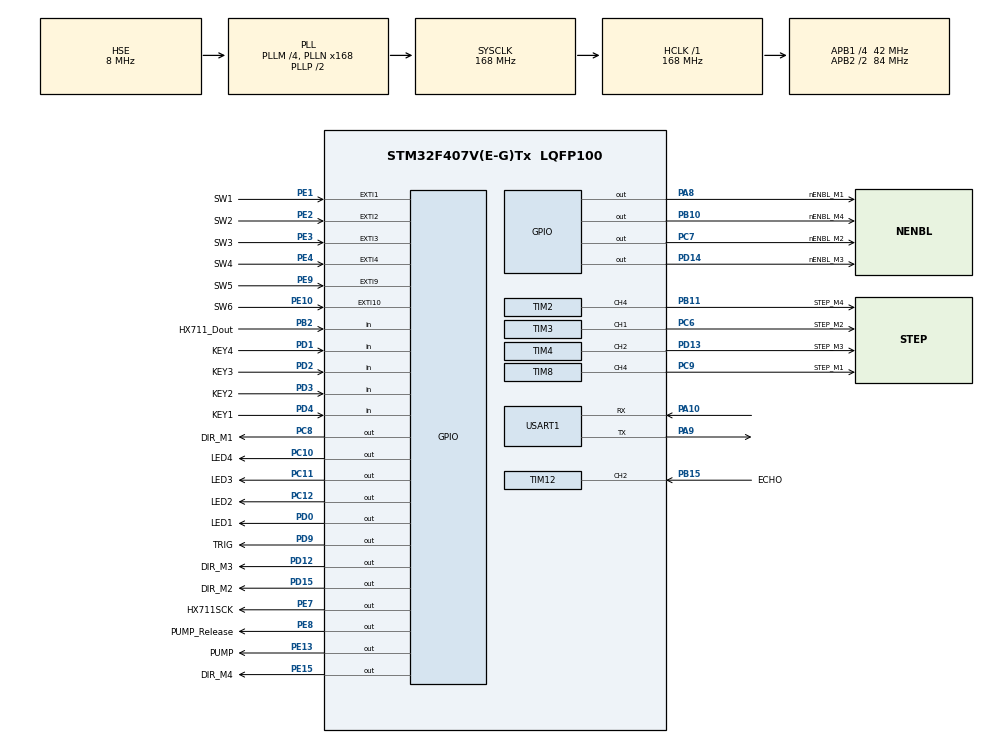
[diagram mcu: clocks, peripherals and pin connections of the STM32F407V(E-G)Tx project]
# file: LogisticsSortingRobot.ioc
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Dma.Request0=USART1_RX
Dma.Request1=USART1_TX
Dma.USART1_RX.0.Direction=DMA_PERIPH_TO_MEMORY
Dma.USART1_RX.0.FIFOMode=DMA_FIFOMODE_DISABLE
Dma.USART1_RX.0.Instance=DMA2_Stream2
Dma.USART1_RX.0.MemDataAlignment=DMA_MDATAALIGN_BYTE
Dma.USART1_RX.0.MemInc=DMA_MINC_ENABLE
Dma.USART1_RX.0.Mode=DMA_NORMAL
Dma.USART1_RX.0.PeriphDataAlignment=DMA_PDATAALIGN_BYTE
Dma.USART1_RX.0.PeriphInc=DMA_PINC_DISABLE
Dma.USART1_RX.0.Priority=DMA_PRIORITY_MEDIUM
Dma.USART1_TX.1.Direction=DMA_MEMORY_TO_PERIPH
Dma.USART1_TX.1.FIFOMode=DMA_FIFOMODE_DISABLE
Dma.USART1_TX.1.Instance=DMA2_Stream7
Dma.USART1_TX.1.MemDataAlignment=DMA_MDATAALIGN_BYTE
Dma.USART1_TX.1.MemInc=DMA_MINC_ENABLE
Dma.USART1_TX.1.Mode=DMA_NORMAL
Dma.USART1_TX.1.PeriphDataAlignment=DMA_PDATAALIGN_BYTE
Dma.USART1_TX.1.PeriphInc=DMA_PINC_DISABLE
Dma.USART1_TX.1.Priority=DMA_PRIORITY_MEDIUM
FREERTOS.BinarySemaphores01=SYNC_Signal,Dynamic,NULL;CameraOpen_Sigal,Dynamic,NULL
FREERTOS.Tasks01=defaultTask,-3,128,StartDefaultTask,Default,NULL,Dynamic,NULL,NULL;JointTask,1,128,JointTaskFunc,As weak,NULL,Dynamic,NULL,NULL;RangingTask,0,128,RangingTaskFunc,As weak,NULL,Dynamic,NULL,NULL;SerialTask,0,128,SerialTaskFunc,As weak,NULL,Dynamic,NULL,NULL;WeighingTask,0,128,WeighingTaskFunc,As weak,NULL,Dynamic,NULL,NULL;AppTask,2,256,AppTaskFunc,As weak,NULL,Dynamic,NULL,NULL
FREERTOS.configMAX_TASK_NAME_LEN=32
FREERTOS.configTIMER_QUEUE_LENGTH=8
FREERTOS.configTIMER_TASK_STACK_DEPTH=128
FREERTOS.configUSE_COUNTING_SEMAPHORES=1
FREERTOS.configUSE_TIMERS=1
Mcu.Family=STM32F4
Mcu.Name=STM32F407V(E-G)Tx
Mcu.Package=LQFP100
NVIC.DMA2_Stream2_IRQn=true\:5\:0\:false\:false\:true\:true\:false\:true\:true
NVIC.DMA2_Stream7_IRQn=true\:5\:0\:false\:false\:true\:true\:false\:true\:true
NVIC.EXTI15_10_IRQn=true\:5\:0\:false\:false\:false\:true\:true\:true\:true
NVIC.EXTI1_IRQn=true\:5\:0\:false\:false\:false\:true\:true\:true\:true
NVIC.EXTI2_IRQn=true\:5\:0\:false\:false\:false\:true\:true\:true\:true
NVIC.EXTI3_IRQn=true\:5\:0\:false\:false\:false\:true\:true\:true\:true
NVIC.EXTI4_IRQn=true\:5\:0\:false\:false\:false\:true\:true\:true\:true
NVIC.EXTI9_5_IRQn=true\:5\:0\:false\:false\:false\:true\:true\:true\:true
NVIC.PriorityGroup=NVIC_PRIORITYGROUP_4
NVIC.TIM1_UP_TIM10_IRQn=true\:15\:0\:false\:false\:true\:false\:false\:true\:true
NVIC.TIM2_IRQn=true\:5\:0\:false\:false\:true\:true\:true\:true\:true
NVIC.TIM3_IRQn=true\:5\:0\:false\:false\:true\:true\:true\:true\:true
NVIC.TIM4_IRQn=true\:5\:0\:false\:false\:true\:true\:true\:true\:true
NVIC.TIM8_BRK_TIM12_IRQn=true\:5\:0\:false\:false\:true\:true\:true\:true\:true
NVIC.TIM8_UP_TIM13_IRQn=true\:5\:0\:false\:false\:true\:true\:true\:true\:true
NVIC.TimeBase=TIM1_UP_TIM10_IRQn
NVIC.TimeBaseIP=TIM1
NVIC.USART1_IRQn=true\:5\:0\:false\:false\:true\:true\:true\:true\:true
PA10.GPIO_PuPd=GPIO_PULLDOWN
PA10.Mode=Asynchronous
PA10.Signal=USART1_RX
PA13.Mode=Trace_Asynchronous_SW
PA13.Signal=SYS_JTMS-SWDIO
PA14.Mode=Trace_Asynchronous_SW
PA14.Signal=SYS_JTCK-SWCLK
PA8.GPIO_Label=nENBL_M1
PA8.Signal=GPIO_Output
PA9.GPIO_PuPd=GPIO_PULLDOWN
PA9.Mode=Asynchronous
PA9.Signal=USART1_TX
PB10.GPIO_Label=nENBL_M4
PB10.Signal=GPIO_Output
PB11.GPIO_Label=STEP_M4
PB11.GPIO_PuPd=GPIO_PULLDOWN
PB11.GPIO_Speed=GPIO_SPEED_FREQ_HIGH
PB11.Signal=S_TIM2_CH4
PB15.GPIO_Label=ECHO
PB15.GPIO_Speed=GPIO_SPEED_FREQ_LOW
PB15.Signal=S_TIM12_CH2
PB2.GPIO_Label=HX711_Dout
PB2.GPIO_PuPd=GPIO_NOPULL
PB2.Signal=GPIO_Input
PB3.Mode=Trace_Asynchronous_SW
PB3.Signal=SYS_JTDO-SWO
PC10.GPIO_Label=LED4
PC10.PinState=GPIO_PIN_SET
PC10.Signal=GPIO_Output
PC11.GPIO_Label=LED3
PC11.PinState=GPIO_PIN_SET
PC11.Signal=GPIO_Output
PC12.GPIO_Label=LED2
PC12.PinState=GPIO_PIN_SET
PC12.Signal=GPIO_Output
PC6.GPIO_Label=STEP_M2
PC6.GPIO_PuPd=GPIO_PULLDOWN
PC6.GPIO_Speed=GPIO_SPEED_FREQ_HIGH
PC6.Signal=S_TIM3_CH1
PC7.GPIO_Label=nENBL_M2
PC7.Signal=GPIO_Output
PC8.GPIO_Label=DIR_M1
PC8.GPIO_Speed=GPIO_SPEED_FREQ_VERY_HIGH
PC8.PinState=GPIO_PIN_SET
PC8.Signal=GPIO_Output
PC9.GPIO_Label=STEP_M1
PC9.GPIO_PuPd=GPIO_PULLDOWN
PC9.GPIO_Speed=GPIO_SPEED_FREQ_HIGH
PC9.Signal=S_TIM8_CH4
PD0.GPIO_Label=LED1
PD0.PinState=GPIO_PIN_SET
PD0.Signal=GPIO_Output
PD1.GPIO_Label=KEY4
PD1.GPIO_PuPd=GPIO_PULLUP
PD1.Signal=GPIO_Input
PD12.GPIO_Label=DIR_M3
PD12.GPIO_Speed=GPIO_SPEED_FREQ_VERY_HIGH
PD12.PinState=GPIO_PIN_SET
PD12.Signal=GPIO_Output
PD13.GPIO_Label=STEP_M3
PD13.GPIO_PuPd=GPIO_PULLDOWN
PD13.GPIO_Speed=GPIO_SPEED_FREQ_HIGH
PD13.Signal=S_TIM4_CH2
PD14.GPIO_Label=nENBL_M3
PD14.Signal=GPIO_Output
PD15.GPIO_Label=DIR_M2
PD15.GPIO_Speed=GPIO_SPEED_FREQ_VERY_HIGH
PD15.PinState=GPIO_PIN_SET
PD15.Signal=GPIO_Output
PD2.GPIO_Label=KEY3
PD2.GPIO_PuPd=GPIO_PULLUP
PD2.Signal=GPIO_Input
PD3.GPIO_Label=KEY2
PD3.GPIO_PuPd=GPIO_PULLUP
PD3.Signal=GPIO_Input
PD4.GPIO_Label=KEY1
PD4.GPIO_PuPd=GPIO_PULLUP
PD4.Signal=GPIO_Input
PD9.GPIO_Label=TRIG
PD9.Signal=GPIO_Output
PE1.GPIO_Label=SW1
PE1.GPIO_ModeDefaultEXTI=GPIO_MODE_IT_RISING_FALLING
PE1.GPIO_PuPd=GPIO_NOPULL
PE1.Signal=GPXTI1
PE10.GPIO_Label=SW6
PE10.GPIO_ModeDefaultEXTI=GPIO_MODE_IT_RISING_FALLING
PE10.Signal=GPXTI10
PE13.GPIO_Label=PUMP
PE13.Signal=GPIO_Output
PE15.GPIO_Label=DIR_M4
PE15.GPIO_Speed=GPIO_SPEED_FREQ_VERY_HIGH
PE15.PinState=GPIO_PIN_SET
PE15.Signal=GPIO_Output
PE2.GPIO_Label=SW2
PE2.GPIO_ModeDefaultEXTI=GPIO_MODE_IT_RISING_FALLING
PE2.GPIO_PuPd=GPIO_NOPULL
PE2.Signal=GPXTI2
PE3.GPIO_Label=SW3
PE3.GPIO_ModeDefaultEXTI=GPIO_MODE_IT_RISING_FALLING
PE3.GPIO_PuPd=GPIO_NOPULL
PE3.Signal=GPXTI3
PE4.GPIO_Label=SW4
PE4.GPIO_ModeDefaultEXTI=GPIO_MODE_IT_RISING_FALLING
PE4.GPIO_PuPd=GPIO_NOPULL
PE4.Signal=GPXTI4
PE7.GPIO_Label=HX711SCK
PE7.GPIO_Speed=GPIO_SPEED_FREQ_VERY_HIGH
PE7.PinState=GPIO_PIN_RESET
PE7.Signal=GPIO_Output
PE8.GPIO_Label=PUMP_Release
PE8.Signal=GPIO_Output
PE9.GPIO_Label=SW5
PE9.GPIO_ModeDefaultEXTI=GPIO_MODE_IT_RISING_FALLING
PE9.Signal=GPXTI9
PH0-OSC_IN.Mode=HSE-External-Oscillator
PH0-OSC_IN.Signal=RCC_OSC_IN
PH1-OSC_OUT.Mode=HSE-External-Oscillator
PH1-OSC_OUT.Signal=RCC_OSC_OUT
ProjectManager.HeapSize=0x200
ProjectManager.StackSize=0x400
ProjectManager.TargetToolchain=MDK-ARM V5.32
RCC.48MHZClocksFreq_Value=84000000
RCC.AHBFreq_Value=168000000
RCC.APB1CLKDivider=RCC_HCLK_DIV4
RCC.APB1Freq_Value=42000000
RCC.APB1TimFreq_Value=84000000
RCC.APB2CLKDivider=RCC_HCLK_DIV2
RCC.APB2Freq_Value=84000000
RCC.APB2TimFreq_Value=168000000
RCC.CortexFreq_Value=168000000
RCC.HCLKFreq_Value=168000000
RCC.HSE_VALUE=8000000
RCC.HSI_VALUE=16000000
RCC.LSE_VALUE=32768
RCC.PLLM=4
RCC.PLLN=168
RCC.PLLSourceVirtual=RCC_PLLSOURCE_HSE
RCC.SYSCLKFreq_VALUE=168000000
RCC.SYSCLKSource=RCC_SYSCLKSOURCE_PLLCLK
RCC.VCOOutputFreq_Value=336000000
SH.S_TIM12_CH2.0=TIM12_CH2,Input_Capture2_from_TI2
SH.S_TIM2_CH4.0=TIM2_CH4,PWM Generation4 CH4
SH.S_TIM3_CH1.0=TIM3_CH1,PWM Generation1 CH1
SH.S_TIM4_CH2.0=TIM4_CH2,PWM Generation2 CH2
SH.S_TIM8_CH4.0=TIM8_CH4,PWM Generation4 CH4
TIM12.AutoReloadPreload=TIM_AUTORELOAD_PRELOAD_ENABLE
TIM12.Channel-Input_Capture2_from_TI2=TIM_CHANNEL_2
TIM12.Prescaler=84-1
TIM2.Channel-PWM\ Generation4\ CH4=TIM_CHANNEL_4
TIM2.OCMode_PWM-PWM\ Generation4\ CH4=TIM_OCMODE_PWM2
TIM2.Period=1000-1
TIM2.Prescaler=84-1
TIM2.Pulse-PWM\ Generation4\ CH4=500
TIM3.AutoReloadPreload=TIM_AUTORELOAD_PRELOAD_ENABLE
TIM3.Channel-PWM\ Generation1\ CH1=TIM_CHANNEL_1
TIM3.OCMode_PWM-PWM\ Generation1\ CH1=TIM_OCMODE_PWM1
TIM3.Period=1000-1
TIM3.Prescaler=84-1
TIM3.Pulse-PWM\ Generation1\ CH1=500
TIM4.Channel-PWM\ Generation2\ CH2=TIM_CHANNEL_2
TIM4.OCMode_PWM-PWM\ Generation2\ CH2=TIM_OCMODE_PWM2
TIM4.Period=1000-1
TIM4.Prescaler=84-1
TIM4.Pulse-PWM\ Generation2\ CH2=500
TIM6.Prescaler=84-1
TIM8.AutoReloadPreload=TIM_AUTORELOAD_PRELOAD_DISABLE
TIM8.Channel-PWM\ Generation4\ CH4=TIM_CHANNEL_4
TIM8.OCMode_PWM-PWM\ Generation4\ CH4=TIM_OCMODE_PWM2
TIM8.Period=1000-1
TIM8.Prescaler=168-1
TIM8.Pulse-PWM\ Generation4\ CH4=500
USART1.VirtualMode=VM_ASYNC
VP_FREERTOS_VS_CMSIS_V1.Mode=CMSIS_V1
VP_SYS_VS_tim1.Mode=TIM1
VP_TIM12_VS_ClockSourceINT.Mode=Internal
VP_TIM3_VS_ClockSourceINT.Mode=Internal
VP_TIM6_VS_ClockSourceINT.Mode=Enable_Timer
board=custom

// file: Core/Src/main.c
/* USER CODE BEGIN Header */
/**
  ******************************************************************************
  * @file           : main.c
  * @brief          : Main program body
  ******************************************************************************
  * @attention
  *
  * Copyright (c) 2022 STMicroelectronics.
  * All rights reserved.
  *
  * This software is licensed under terms that can be found in the LICENSE file
  * in the root directory of this software component.
  * If no LICENSE file comes with this software, it is provided AS-IS.
  *
  ******************************************************************************
  */
/* USER CODE END Header */
#include "main.h"
#include "cmsis_os.h"
#include "dma.h"
#include "tim.h"
#include "usart.h"
#include "gpio.h"

void SystemClock_Config(void);
void MX_FREERTOS_Init(void);

int main(void)
{

  /* MCU Configuration--------------------------------------------------------*/

  /* Reset of all peripherals, Initializes the Flash interface and the Systick. */
  HAL_Init();

  /* Configure the system clock */
  SystemClock_Config();

  /* Initialize all configured peripherals */
  MX_GPIO_Init();
  MX_DMA_Init();
  MX_TIM12_Init();
  MX_USART1_UART_Init();
  MX_TIM3_Init();
  MX_TIM4_Init();
  MX_TIM8_Init();
  MX_TIM6_Init();
  MX_TIM2_Init();

  /* Call init function for freertos objects (in freertos.c) */
  MX_FREERTOS_Init();

  /* Start scheduler */
  osKernelStart();

  /* We should never get here as control is now taken by the scheduler */
  /* Infinite loop */
  while (1)
  {

  }
}

void SystemClock_Config(void)
{
  RCC_OscInitTypeDef RCC_OscInitStruct = {0};
  RCC_ClkInitTypeDef RCC_ClkInitStruct = {0};

  /** Configure the main internal regulator output voltage
  */
  __HAL_RCC_PWR_CLK_ENABLE();
  __HAL_PWR_VOLTAGESCALING_CONFIG(PWR_REGULATOR_VOLTAGE_SCALE1);

  /** Initializes the RCC Oscillators according to the specified parameters
  * in the RCC_OscInitTypeDef structure.
  */
  RCC_OscInitStruct.OscillatorType = RCC_OSCILLATORTYPE_HSE;
  RCC_OscInitStruct.HSEState = RCC_HSE_ON;
  RCC_OscInitStruct.PLL.PLLState = RCC_PLL_ON;
  RCC_OscInitStruct.PLL.PLLSource = RCC_PLLSOURCE_HSE;
  RCC_OscInitStruct.PLL.PLLM = 4;
  RCC_OscInitStruct.PLL.PLLN = 168;
  RCC_OscInitStruct.PLL.PLLP = RCC_PLLP_DIV2;
  RCC_OscInitStruct.PLL.PLLQ = 4;
  if (HAL_RCC_OscConfig(&RCC_OscInitStruct) != HAL_OK)
  {
    Error_Handler();
  }

  /** Initializes the CPU, AHB and APB buses clocks
  */
  RCC_ClkInitStruct.ClockType = RCC_CLOCKTYPE_HCLK|RCC_CLOCKTYPE_SYSCLK
                              |RCC_CLOCKTYPE_PCLK1|RCC_CLOCKTYPE_PCLK2;
  RCC_ClkInitStruct.SYSCLKSource = RCC_SYSCLKSOURCE_PLLCLK;
  RCC_ClkInitStruct.AHBCLKDivider = RCC_SYSCLK_DIV1;
  RCC_ClkInitStruct.APB1CLKDivider = RCC_HCLK_DIV4;
  RCC_ClkInitStruct.APB2CLKDivider = RCC_HCLK_DIV2;

  if (HAL_RCC_ClockConfig(&RCC_ClkInitStruct, FLASH_LATENCY_5) != HAL_OK)
  {
    Error_Handler();
  }
}

void HAL_TIM_PeriodElapsedCallback(TIM_HandleTypeDef *htim)
{
  if (htim->Instance == TIM1) {
    HAL_IncTick();
  }
}

void Error_Handler(void)
{
  __disable_irq();
  while (1)
  {
  }
}

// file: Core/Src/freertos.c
/* USER CODE BEGIN Header */
/**
  ******************************************************************************
  * File Name          : freertos.c
  * Description        : Code for freertos applications
  ******************************************************************************
  * @attention
  *
  * Copyright (c) 2022 STMicroelectronics.
  * All rights reserved.
  *
  * This software is licensed under terms that can be found in the LICENSE file
  * in the root directory of this software component.
  * If no LICENSE file comes with this software, it is provided AS-IS.
  *
  ******************************************************************************
  */
/* USER CODE END Header */

#include "FreeRTOS.h"
#include "task.h"
#include "main.h"
#include "cmsis_os.h"

/* USER CODE BEGIN Includes */
#include "Serial.h"
/* USER CODE END Includes */

/* USER CODE BEGIN PD */
#define SERIAL_RX_QUEUE_LEN		8
#define SERIAL_RX_QUEUE_SIZE		(3 + SERIAL_DATABYTE)
#define JOINT_QUEUE_LEN			8
#define JOINT_QUEUE_SIZE			5 // 1 + 2 + 2
#define COOR_QUEUE_LEN			8
#define COOR_QUEUE_SIZE			(SERIAL_DATABYTE - 2)
#define PRESSURE_QUEUE_LEN		2
#define PRESSURE_QUEUE_SIZE		4
#define RANGE_QUEUE_LEN			2
#define RANGE_QUEUE_SIZE			4
/* USER CODE END PD */

/* USER CODE BEGIN Variables */
QueueHandle_t Serial_Queue;
QueueHandle_t JointDrive_Queue;
QueueHandle_t Coordinate_Queue;
QueueHandle_t PressureSensor_Queue;
QueueHandle_t RangingSensor_Queue;
/* USER CODE END Variables */
osThreadId defaultTaskHandle;
osThreadId JointTaskHandle;
osThreadId RangingTaskHandle;
osThreadId SerialTaskHandle;
osThreadId WeighingTaskHandle;
osThreadId AppTaskHandle;
osSemaphoreId SYNC_SignalHandle;
osSemaphoreId CameraOpen_SigalHandle;

void StartDefaultTask(void const * argument);
void JointTaskFunc(void const * argument);
void RangingTaskFunc(void const * argument);
void SerialTaskFunc(void const * argument);
void WeighingTaskFunc(void const * argument);
void AppTaskFunc(void const * argument);

void MX_FREERTOS_Init(void); /* (MISRA C 2004 rule 8.1) */

/* GetIdleTaskMemory prototype (linked to static allocation support) */
void vApplicationGetIdleTaskMemory( StaticTask_t **ppxIdleTaskTCBBuffer, StackType_t **ppxIdleTaskStackBuffer, uint32_t *pulIdleTaskStackSize );

/* GetTimerTaskMemory prototype (linked to static allocation support) */
void vApplicationGetTimerTaskMemory( StaticTask_t **ppxTimerTaskTCBBuffer, StackType_t **ppxTimerTaskStackBuffer, uint32_t *pulTimerTaskStackSize );

/* USER CODE BEGIN GET_IDLE_TASK_MEMORY */
static StaticTask_t xIdleTaskTCBBuffer;
static StackType_t xIdleStack[configMINIMAL_STACK_SIZE];

void vApplicationGetIdleTaskMemory( StaticTask_t **ppxIdleTaskTCBBuffer, StackType_t **ppxIdleTaskStackBuffer, uint32_t *pulIdleTaskStackSize )
{
  *ppxIdleTaskTCBBuffer = &xIdleTaskTCBBuffer;
  *ppxIdleTaskStackBuffer = &xIdleStack[0];
  *pulIdleTaskStackSize = configMINIMAL_STACK_SIZE;
  /* place for user code */
}
/* USER CODE END GET_IDLE_TASK_MEMORY */

/* USER CODE BEGIN GET_TIMER_TASK_MEMORY */
static StaticTask_t xTimerTaskTCBBuffer;
static StackType_t xTimerStack[configTIMER_TASK_STACK_DEPTH];

void vApplicationGetTimerTaskMemory( StaticTask_t **ppxTimerTaskTCBBuffer, StackType_t **ppxTimerTaskStackBuffer, uint32_t *pulTimerTaskStackSize )
{
  *ppxTimerTaskTCBBuffer = &xTimerTaskTCBBuffer;
  *ppxTimerTaskStackBuffer = &xTimerStack[0];
  *pulTimerTaskStackSize = configTIMER_TASK_STACK_DEPTH;
  /* place for user code */
}
/* USER CODE END GET_TIMER_TASK_MEMORY */

void MX_FREERTOS_Init(void) {

  /* Create the semaphores(s) */
  /* definition and creation of SYNC_Signal */
  osSemaphoreDef(SYNC_Signal);
  SYNC_SignalHandle = osSemaphoreCreate(osSemaphore(SYNC_Signal), 1);

  /* definition and creation of CameraOpen_Sigal */
  osSemaphoreDef(CameraOpen_Sigal);
  CameraOpen_SigalHandle = osSemaphoreCreate(osSemaphore(CameraOpen_Sigal), 1);

  /* USER CODE BEGIN RTOS_QUEUES */
  /* add queues, ... */
	Serial_Queue = xQueueCreate((UBaseType_t)SERIAL_RX_QUEUE_LEN,(UBaseType_t)SERIAL_RX_QUEUE_SIZE);
	if(NULL == Serial_Queue)
	{
	  // Queue Create Error
	}
	JointDrive_Queue = xQueueCreate((UBaseType_t)JOINT_QUEUE_LEN,(UBaseType_t)JOINT_QUEUE_SIZE);
	if(NULL == JointDrive_Queue)
	{
	  // Queue Create Error
	}
	Coordinate_Queue = xQueueCreate((UBaseType_t)COOR_QUEUE_LEN,(UBaseType_t)COOR_QUEUE_SIZE);
	if(NULL == Coordinate_Queue)
	{
	  // Queue Create Error
	}
	PressureSensor_Queue = xQueueCreate((UBaseType_t)PRESSURE_QUEUE_LEN,(UBaseType_t)PRESSURE_QUEUE_SIZE);
	if(NULL == PressureSensor_Queue)
	{
	  // Queue Create Error
	}
	RangingSensor_Queue = xQueueCreate((UBaseType_t)RANGE_QUEUE_LEN,(UBaseType_t)RANGE_QUEUE_SIZE);
	if(NULL == RangingSensor_Queue)
	{
	  // Queue Create Error
	}
  /* USER CODE END RTOS_QUEUES */

  /* Create the thread(s) */
  /* definition and creation of defaultTask */
  osThreadDef(defaultTask, StartDefaultTask, osPriorityIdle, 0, 128);
  defaultTaskHandle = osThreadCreate(osThread(defaultTask), NULL);

  /* definition and creation of JointTask */
  osThreadDef(JointTask, JointTaskFunc, osPriorityAboveNormal, 0, 128);
  JointTaskHandle = osThreadCreate(osThread(JointTask), NULL);

  /* definition and creation of RangingTask */
  osThreadDef(RangingTask, RangingTaskFunc, osPriorityNormal, 0, 128);
  RangingTaskHandle = osThreadCreate(osThread(RangingTask), NULL);

  /* definition and creation of SerialTask */
  osThreadDef(SerialTask, SerialTaskFunc, osPriorityNormal, 0, 128);
  SerialTaskHandle = osThreadCreate(osThread(SerialTask), NULL);

  /* definition and creation of WeighingTask */
  osThreadDef(WeighingTask, WeighingTaskFunc, osPriorityNormal, 0, 128);
  WeighingTaskHandle = osThreadCreate(osThread(WeighingTask), NULL);

  /* definition and creation of AppTask */
  osThreadDef(AppTask, AppTaskFunc, osPriorityHigh, 0, 256);
  AppTaskHandle = osThreadCreate(osThread(AppTask), NULL);

}

void StartDefaultTask(void const * argument)
{
  for(;;)
  {
    osDelay(1);
  }
}

__weak void JointTaskFunc(void const * argument)
{
  for(;;)
  {
    osDelay(1);
  }
}

__weak void RangingTaskFunc(void const * argument)
{
  for(;;)
  {
    osDelay(1);
  }
}

__weak void SerialTaskFunc(void const * argument)
{
  for(;;)
  {
    osDelay(1);
  }
}

__weak void WeighingTaskFunc(void const * argument)
{
  for(;;)
  {
    osDelay(1);
  }
}

__weak void AppTaskFunc(void const * argument)
{
  for(;;)
  {
    osDelay(1);
  }
}
